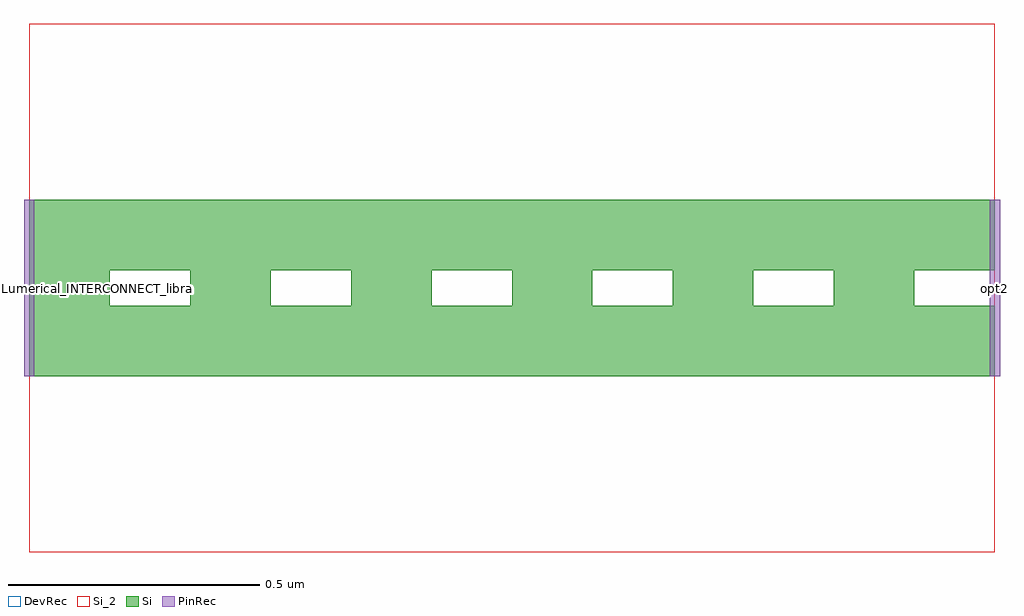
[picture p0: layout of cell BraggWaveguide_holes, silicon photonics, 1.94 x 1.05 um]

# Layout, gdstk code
import gdstk
lib = gdstk.Library(unit=1e-6, precision=1e-09)
def R(c, l, rs):  # rectangles x0, y0, x1, y1
    for r in rs: c.add(gdstk.rectangle(r[:2], r[2:], *l))
def A(c, l, x, y, w, h, nx, ny, dx, dy):  # array of equal rectangles
    R(c, l, [(x+i*dx, y+j*dy, x+i*dx+w, y+j*dy+h) for i in range(nx) for j in range(ny)])
Si = (1, 0)
Si_2 = (1, 2)
PinRec = (1, 10)
DevRec = (68, 0)

braggwaveguide_holes = lib.new_cell('BraggWaveguide_holes')
A(braggwaveguide_holes, Si, 0, -0.175, 0.16, 0.35, 6, 1, 0.32, 0)
A(braggwaveguide_holes, Si, 0.16, -0.175, 0.16, 0.14, 6, 2, 0.32, 0.21)
R(braggwaveguide_holes, Si_2, [(0,-0.525,1.92,0.525)])
R(braggwaveguide_holes, DevRec, [(0,-0.525,1.92,0.525)])
braggwaveguide_holes.add(gdstk.FlexPath([(0.01,0),(-0.01,0)], 0.35, ends="flush", simple_path=True, layer=1, datatype=10))  # PinRec
braggwaveguide_holes.add(gdstk.FlexPath([(1.91,0),(1.93,0)], 0.35, ends="flush", simple_path=True, layer=1, datatype=10))  # PinRec
braggwaveguide_holes.add(gdstk.Label('Lumerical_INTERCONNECT_library=Design kits/ebeam', (0,0), layer=68, texttype=0))
braggwaveguide_holes.add(gdstk.Label('Component=ebeam_bragg_te1550', (0.192,0), layer=68, texttype=0))
braggwaveguide_holes.add(gdstk.Label('Spice_param:number_of_periods=6 grating_period=3.2e-07 hole_width=7e-08 fill_factor=0.5', (0.213,0), layer=68, texttype=0))
braggwaveguide_holes.add(gdstk.Label('opt1', (0,0), layer=1, texttype=10))
braggwaveguide_holes.add(gdstk.Label('opt2', (1.92,0), layer=1, texttype=10))

lib.write_gds('BraggWaveguide_holes.gds')
